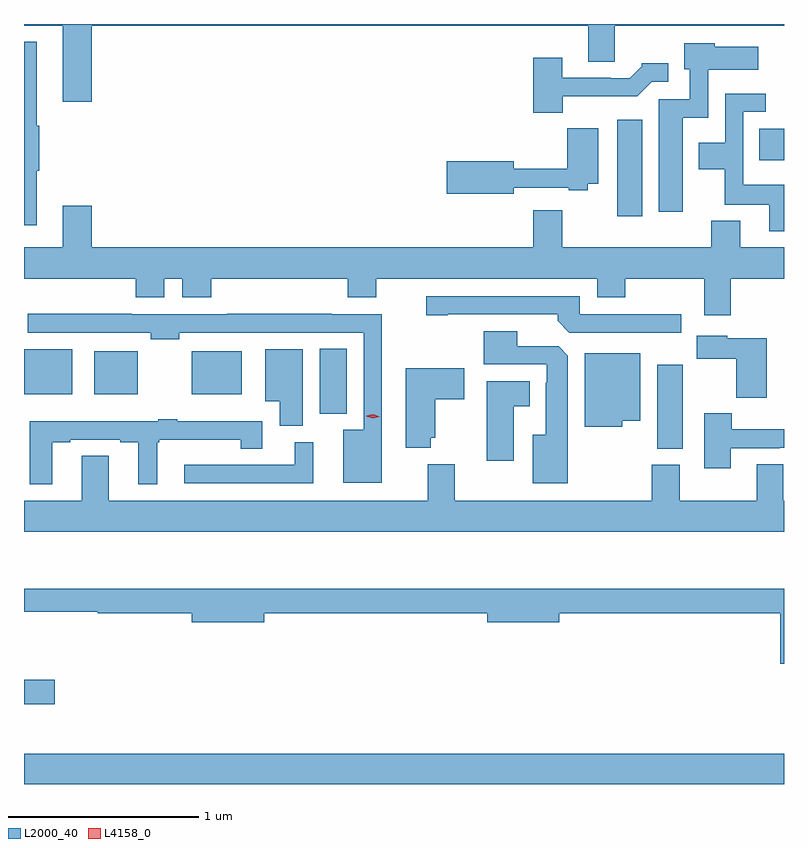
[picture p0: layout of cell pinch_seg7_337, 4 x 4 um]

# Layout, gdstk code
import gdstk
lib = gdstk.Library(unit=1e-6, precision=1e-09)
def R(c, l, rs):  # rectangles x0, y0, x1, y1
    for r in rs: c.add(gdstk.rectangle(r[:2], r[2:], *l))
def P(c, l, *ps):  # polygons
    for p in ps: c.add(gdstk.Polygon(p, *l))
L2000_40 = (2000, 40)
L4158_0 = (4158, 0)

pinch_seg7_337 = lib.new_cell('pinch_seg7_337')
R(pinch_seg7_337, L2000_40, [(399.336,1019.268,403.336,1019.428), (399.336,1019.687,399.499,1019.817), (402.668,1021.033,402.802,1021.475), (400.892,1021.217,401.035,1021.559), (399.336,1021.319,399.589,1021.555), (399.707,1021.319,399.934,1021.546), (400.22,1021.319,400.483,1021.546), (402.458,1022.256,402.589,1022.764), (403.207,1022.552,403.336,1022.716)])
P(pinch_seg7_337, L2000_40, [(399.692,1023.26),(402.305,1023.26),(402.305,1023.07),(402.445,1023.07),(402.445,1023.26),(403.336,1023.26),(403.336,1023.268),(399.336,1023.268),(399.336,1023.26),(399.539,1023.26),(399.539,1022.859),(399.692,1022.859)],
  [(399.403,1022.496),(399.416,1022.496),(399.416,1022.733),(399.403,1022.733),(399.403,1023.175),(399.336,1023.175),(399.336,1022.208),(399.403,1022.208)],
  [(402.802,1022.774),(402.936,1022.774),(402.936,1023.026),(403.201,1023.026),(403.201,1023.148),(402.972,1023.148),(402.972,1023.166),(402.812,1023.166),(402.812,1023.03),(402.84,1023.03),(402.84,1022.871),(402.677,1022.871),(402.677,1022.28),(402.802,1022.28)],
  [(402.172,1022.888),(402.563,1022.888),(402.639,1022.964),(402.727,1022.964),(402.727,1023.061),(402.588,1023.061),(402.588,1023.046),(402.524,1022.982),(402.425,1022.982),(402.425,1022.985),(402.169,1022.985),(402.169,1023.091),(402.017,1023.091),(402.017,1022.801),(402.172,1022.801)],
  [(403.336,1022.422),(403.122,1022.422),(403.122,1022.805),(403.24,1022.805),(403.24,1022.901),(403.026,1022.901),(403.026,1022.644),(402.887,1022.644),(402.887,1022.504),(403.024,1022.504),(403.024,1022.318),(403.259,1022.318),(403.259,1022.178),(403.336,1022.178)],
  [(401.914,1022.406),(402.203,1022.406),(402.203,1022.394),(402.303,1022.394),(402.303,1022.426),(402.358,1022.426),(402.358,1022.719),(402.196,1022.719),(402.196,1022.507),(401.914,1022.507),(401.914,1022.546),(401.562,1022.546),(401.562,1022.375),(401.914,1022.375)],
  [(403.057,1021.928),(403.336,1021.928),(403.336,1022.092),(403.105,1022.092),(403.105,1022.233),(402.953,1022.233),(402.953,1022.092),(402.169,1022.092),(402.169,1022.287),(402.017,1022.287),(402.017,1022.092),(399.692,1022.092),(399.692,1022.311),(399.539,1022.311),(399.539,1022.092),(399.336,1022.092),(399.336,1021.928),(399.923,1021.928),(399.923,1021.829),(400.075,1021.829),(400.075,1021.928),(400.169,1021.928),(400.169,1021.829),(400.322,1021.829),(400.322,1021.928),(401.039,1021.928),(401.039,1021.829),(401.191,1021.829),(401.191,1021.928),(402.353,1021.928),(402.353,1021.829),(402.501,1021.829),(402.501,1021.928),(402.917,1021.928),(402.917,1021.734),(403.057,1021.734)],
  [(402.794,1021.74),(402.261,1021.74),(402.261,1021.836),(401.454,1021.836),(401.454,1021.735),(401.566,1021.735),(401.566,1021.74),(402.146,1021.74),(402.146,1021.706),(402.207,1021.644),(402.794,1021.644)],
  [(401.22,1021.74),(400.955,1021.74),(400.955,1021.742),(400.405,1021.742),(400.405,1021.74),(399.902,1021.74),(399.902,1021.742),(399.357,1021.742),(399.357,1021.644),(400.002,1021.644),(400.002,1021.609),(400.152,1021.609),(400.152,1021.644),(401.124,1021.644),(401.124,1021.132),(401.015,1021.132),(401.015,1020.854),(401.22,1020.854)],
  [(402.199,1021.523),(402.15,1021.572),(401.932,1021.572),(401.932,1021.651),(401.756,1021.651),(401.756,1021.476),(402.087,1021.476),(402.087,1021.379),(402.083,1021.379),(402.083,1021.105),(402.014,1021.105),(402.014,1020.851),(402.199,1020.851)],
  [(403.246,1021.615),(403.038,1021.615),(403.038,1021.627),(402.877,1021.627),(402.877,1021.505),(403.084,1021.505),(403.084,1021.301),(403.246,1021.301)],
  [(400.804,1021.555),(400.607,1021.555),(400.607,1021.283),(400.682,1021.283),(400.682,1021.153),(400.804,1021.153)],
  [(402.484,1021.181),(402.58,1021.181),(402.58,1021.534),(402.287,1021.534),(402.287,1021.148),(402.484,1021.148)],
  [(401.478,1021.091),(401.5,1021.091),(401.5,1021.294),(401.653,1021.294),(401.653,1021.456),(401.345,1021.456),(401.345,1021.037),(401.478,1021.037)],
  [(401.914,1021.256),(401.998,1021.256),(401.998,1021.387),(401.771,1021.387),(401.771,1020.969),(401.914,1020.969)],
  [(403.057,1021.035),(403.313,1021.035),(403.313,1021.038),(403.336,1021.038),(403.336,1021.135),(403.06,1021.135),(403.06,1021.219),(402.917,1021.219),(402.917,1020.93),(403.057,1020.93)],
  [(399.484,1021.068),(399.58,1021.068),(399.58,1021.08),(399.842,1021.08),(399.842,1021.068),(399.938,1021.068),(399.938,1020.845),(400.036,1020.845),(400.036,1021.068),(400.048,1021.068),(400.048,1021.079),(400.478,1021.079),(400.478,1021.033),(400.591,1021.033),(400.591,1021.177),(400.142,1021.177),(400.142,1021.189),(400.042,1021.189),(400.042,1021.177),(399.367,1021.177),(399.367,1020.845),(399.484,1020.845)],
  [(400.858,1021.068),(400.76,1021.068),(400.76,1020.948),(400.179,1020.948),(400.179,1020.852),(400.858,1020.852)],
  [(403.336,1020.76),(403.333,1020.76),(403.333,1020.95),(403.193,1020.95),(403.193,1020.76),(402.787,1020.76),(402.787,1020.948),(402.64,1020.948),(402.64,1020.76),(401.602,1020.76),(401.602,1020.952),(401.462,1020.952),(401.462,1020.76),(399.781,1020.76),(399.781,1020.995),(399.641,1020.995),(399.641,1020.76),(399.336,1020.76),(399.336,1020.596),(403.336,1020.596)],
  [(403.336,1020.295),(399.336,1020.295),(399.336,1020.174),(399.724,1020.174),(399.724,1020.166),(400.22,1020.166),(400.22,1020.119),(400.6,1020.119),(400.6,1020.166),(401.774,1020.166),(401.774,1020.119),(402.154,1020.119),(402.154,1020.166),(403.316,1020.166),(403.316,1019.901),(403.336,1019.901)])
P(pinch_seg7_337, L4158_0, [(401.172,1021.193),(401.137,1021.204),(401.136,1021.204),(401.137,1021.205),(401.173,1021.213),(401.208,1021.202),(401.208,1021.201),(401.208,1021.201)])

lib.write_gds('pinch_seg7_337.gds')
